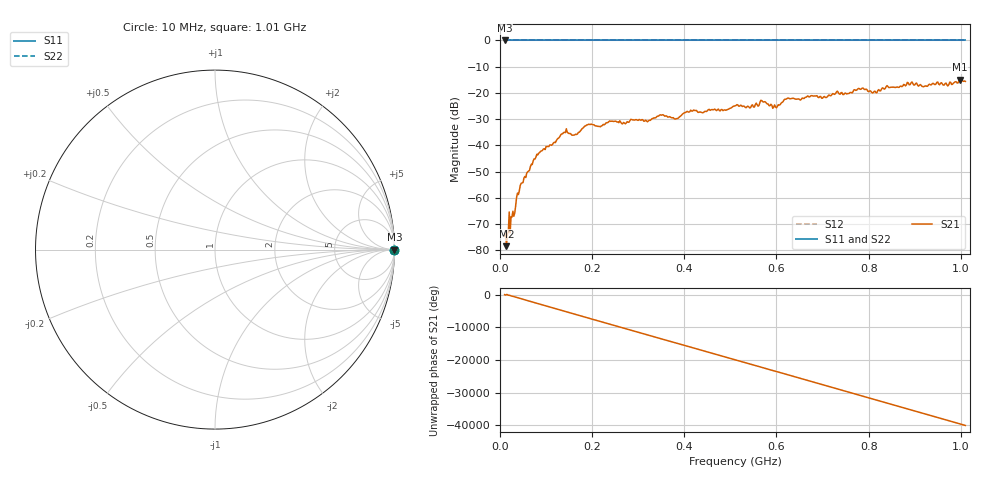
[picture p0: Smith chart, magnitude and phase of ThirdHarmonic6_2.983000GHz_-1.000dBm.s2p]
! 8/17/2025 8:28:51 AM
! C:\ANRITSUVNA\TEMP\TEMP.S2P
! CHANNEL.1
! TR.MEASUREMENT
! RAW.DATA
! RF.CORRECTION.OFF
! AVERAGING.OFF
! IF.BANDWIDTH: 5KHZ
! SWEEPTYPE:  FREQ.SWEEP(Linear)
! Reference Plane Port Info
! PORT:  PORT1  PORT2
! DISTANCE:  0  m  0  m
! TIME:  0  s  0  s
! PHASE.OFFSET:  0  deg.  0  deg.
! LOSS:  0  dB  0  dB
! REF.LOSS:  0  dB  0  dB
! REF.FREQ:  0  Hz  0  Hz
! Power Info
! POWER:  -20  dBm  -20  dBm
! EFF.POWER:  -20  dBm  -20  dBm
! SOURCE.ATTEN:  0  dB  0  dB
! TEST.ATTEN:  0  dB  0  dB
# GHZ S RI R 50.0
! FREQ.GHZ  S11RE  S11IM  S21RE  S21IM  S12RE  S12IM  S22RE  S22IM
!; PortSelection: Port_12
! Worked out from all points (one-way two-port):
!   501 points, 10 MHz to 1.01 GHz, reference 50 ohm
!   highest |S21| = -14.92 dB at 998 MHz (marker M1); lowest = -78.4 dB at 14 MHz (marker M2)
!   lowest |S11| = 0.0 dB at 10 MHz (marker M3)
!   |S11| at or under -10 dB: nowhere
!   |S22| runs from 0.0 to 0.0 dB; largest |S21 - S12| = 1.2
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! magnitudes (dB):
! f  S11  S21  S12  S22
! 10 MHz  0.0  -74.7  0.0  0.0
! 14 MHz  0.0  -78.4  0.0  0.0
! 30 MHz  0.0  -67.0  0.0  0.0
! 42 MHz  0.0  -57.2  0.0  0.0
! 76 MHz  0.0  -45.2  0.0  0.0
! 140 MHz  0.0  -35.0  0.0  0.0
! 162 MHz  0.0  -36.0  0.0  0.0
! 178 MHz  0.0  -33.7  0.0  0.0
! 344 MHz  0.0  -28.8  0.0  0.0
! 382 MHz  0.0  -29.8  0.0  0.0
! 418 MHz  0.0  -26.9  0.0  0.0
! 510 MHz  0.0  -24.9  0.0  0.0
! 540 MHz  0.0  -25.3  0.0  0.0
! 570 MHz  0.0  -23.3  0.0  0.0
! 596 MHz  0.0  -24.6  0.0  0.0
! 622 MHz  0.0  -22.3  0.0  0.0
! 678 MHz  0.0  -21.1  0.0  0.0
! 784 MHz  0.0  -18.5  0.0  0.0
! 814 MHz  0.0  -19.4  0.0  0.0
! 844 MHz  0.0  -18.0  0.0  0.0
! 998 MHz  0.0  -14.9  0.0  0.0
! 1.01 GHz  0.0  -15.6  0.0  0.0
